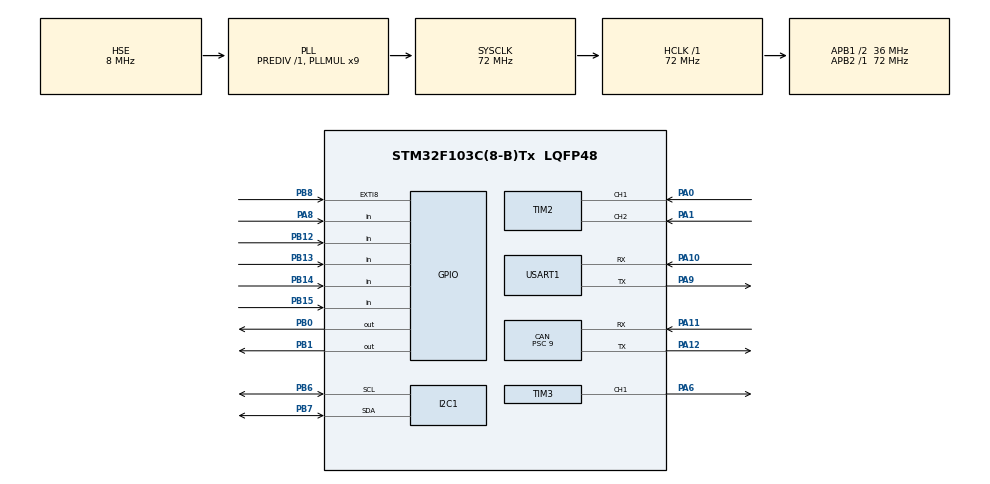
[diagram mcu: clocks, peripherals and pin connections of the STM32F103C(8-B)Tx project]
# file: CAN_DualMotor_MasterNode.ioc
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CAN.ABOM=ENABLE
CAN.BS1=CAN_BS1_6TQ
CAN.CalculateBaudRate=500000
CAN.CalculateTimeBit=2000
CAN.CalculateTimeQuantum=250.0
CAN.NART=ENABLE
CAN.Prescaler=9
Mcu.Family=STM32F1
Mcu.Name=STM32F103C(8-B)Tx
Mcu.Package=LQFP48
NVIC.EXTI9_5_IRQn=true\:0\:0\:false\:false\:true\:true\:true\:true
NVIC.PriorityGroup=NVIC_PRIORITYGROUP_4
NVIC.TIM4_IRQn=true\:0\:0\:false\:false\:true\:true\:true\:true
NVIC.USART1_IRQn=true\:0\:0\:false\:false\:true\:true\:true\:true
NVIC.USB_LP_CAN1_RX0_IRQn=true\:1\:0\:true\:false\:true\:true\:true\:true
PA0-WKUP.Signal=S_TIM2_CH1_ETR
PA1.Signal=S_TIM2_CH2
PA10.Mode=Asynchronous
PA10.Signal=USART1_RX
PA11.Mode=CAN_Activate
PA11.Signal=CAN_RX
PA12.Mode=CAN_Activate
PA12.Signal=CAN_TX
PA13.Mode=Serial_Wire
PA13.Signal=SYS_JTMS-SWDIO
PA14.Mode=Serial_Wire
PA14.Signal=SYS_JTCK-SWCLK
PA6.Signal=S_TIM3_CH1
PA8.GPIO_PuPd=GPIO_PULLUP
PA8.Signal=GPIO_Input
PA9.Mode=Asynchronous
PA9.Signal=USART1_TX
PB0.Signal=GPIO_Output
PB1.Signal=GPIO_Output
PB12.GPIO_PuPd=GPIO_PULLUP
PB12.Signal=GPIO_Input
PB13.GPIO_PuPd=GPIO_PULLUP
PB13.Signal=GPIO_Input
PB14.GPIO_PuPd=GPIO_PULLUP
PB14.Signal=GPIO_Input
PB15.GPIO_PuPd=GPIO_PULLUP
PB15.Signal=GPIO_Input
PB6.Mode=I2C
PB6.Signal=I2C1_SCL
PB7.Mode=I2C
PB7.Signal=I2C1_SDA
PB8.GPIO_ModeDefaultEXTI=GPIO_MODE_IT_FALLING
PB8.GPIO_PuPd=GPIO_PULLUP
PB8.Signal=GPXTI8
PD0-OSC_IN.Mode=HSE-External-Oscillator
PD0-OSC_IN.Signal=RCC_OSC_IN
PD1-OSC_OUT.Mode=HSE-External-Oscillator
PD1-OSC_OUT.Signal=RCC_OSC_OUT
ProjectManager.HeapSize=0x200
ProjectManager.StackSize=0x400
ProjectManager.TargetToolchain=MDK-ARM V5.32
RCC.AHBFreq_Value=72000000
RCC.APB1CLKDivider=RCC_HCLK_DIV2
RCC.APB1Freq_Value=36000000
RCC.APB1TimFreq_Value=72000000
RCC.APB2Freq_Value=72000000
RCC.APB2TimFreq_Value=72000000
RCC.HCLKFreq_Value=72000000
RCC.PLLMUL=RCC_PLL_MUL9
RCC.PLLSourceVirtual=RCC_PLLSOURCE_HSE
RCC.SYSCLKFreq_VALUE=72000000
RCC.SYSCLKSource=RCC_SYSCLKSOURCE_PLLCLK
RCC.USBFreq_Value=72000000
SH.S_TIM2_CH1_ETR.0=TIM2_CH1,Encoder_Interface
SH.S_TIM2_CH2.0=TIM2_CH2,Encoder_Interface
SH.S_TIM3_CH1.0=TIM3_CH1,PWM Generation1 CH1
TIM2.EncoderMode=TIM_ENCODERMODE_TI12
TIM2.IC1Filter=6
TIM2.IC2Filter=6
TIM3.Channel-PWM\ Generation1\ CH1=TIM_CHANNEL_1
TIM3.Period=3599
TIM4.Period=99
TIM4.Prescaler=7199
USART1.VirtualMode=VM_ASYNC
VP_TIM4_VS_ClockSourceINT.Mode=Internal
board=custom

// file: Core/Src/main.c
/* USER CODE BEGIN Header */
/**
  ******************************************************************************
  * @file           : main.c
  * @brief          : Main program body
  ******************************************************************************
  * @attention
  *
  * Copyright (c) 2026 STMicroelectronics.
  * All rights reserved.
  *
  * This software is licensed under terms that can be found in the LICENSE file
  * in the root directory of this software component.
  * If no LICENSE file comes with this software, it is provided AS-IS.
  *
  ******************************************************************************
  */
/* USER CODE END Header */
#include "main.h"
#include "can.h"
#include "i2c.h"
#include "tim.h"
#include "usart.h"
#include "gpio.h"

/* USER CODE BEGIN Includes */
#include "motor_control.h"
#include "Motor.h"
#include "Encoder.h"
#include "OLED.h"
#include "speed_pi.h"
#include "motor_control.h"
#include "Bsp_Can.h"
#include "can_protocol.h"
#include "App.h"
#include "state_machine.h"
/* USER CODE END Includes */

/* USER CODE BEGIN PV */
/* USER CODE BEGIN PV */

volatile uint8_t flag_10ms = 0;

int16_t speed_now = 0;
int16_t pwm_now = 0;
uint8_t oled_count = 0;
int16_t encoder_delta=0;
int16_t encoder_total=0;
int32_t pos_now = 0;
float target_speed_now = 0.0f;
//  系统运行的10ms计数
volatile uint32_t tick_10ms = 0;

//  本次任务开始的tick
uint32_t run_start_tick = 0;

//  本次任务耗时tick
uint32_t run_time_tick = 0;

//  防止完成后反复记录时间
uint8_t time_recorded = 0;
uint8_t finish_screen_updated = 0;

//can 测试
uint32_t status_count = 0;

int32_t test_total_count = 0;
int16_t test_delta_count = 0;
uint8_t test_state = 0;
uint32_t last_send_tick = 0;

//双机联调测试
static Can_MotorCommand_t test_cmd;
static Can_MotorCommand_t stop_cmd;

static Can_MotorStatus_t slave1_status;
static Can_MotorStatus_t slave2_status;

static uint32_t last_cmd_tick = 0;
static uint32_t last_oled_tick = 0;

//异步电机测试
static App_Config_t test_config;
static App_Runtime_t app_runtime;

static uint8_t sync_started = 0;

/* USER CODE END PV */

void SystemClock_Config(void);

int main(void)
{

  /* MCU Configuration--------------------------------------------------------*/

  /* Reset of all peripherals, Initializes the Flash interface and the Systick. */
  HAL_Init();

  /* Configure the system clock */
  SystemClock_Config();

  /* Initialize all configured peripherals */
  MX_GPIO_Init();
  MX_CAN_Init();
  MX_I2C1_Init();
  MX_TIM2_Init();
  MX_TIM3_Init();
  MX_TIM4_Init();
  MX_USART1_UART_Init();
  /* USER CODE BEGIN 2 */
	OLED_Init();
	Can_Init();
	App_Init();
	StateMachine_Init();
//OLED_ShowString(1, 1, "TGT:");
//OLED_ShowString(2, 1, "POS:");
//OLED_ShowString(3, 1, "SPD:");
//OLED_ShowString(4, 1, "TIME:");

//Motor_Init();
//Encoder_Init();

//MotorControl_Init(
//    0.02f,     // position Kp
//    80.0f,     // speed Kp
//    130.0f     // speed Ki
//);

//Encoder_Reset();
//HAL_TIM_Base_Start_IT(&htim4);

//// [新增]
//run_start_tick = tick_10ms;
//time_recorded = 0;
//MotorControl_SetTarget(28875);
//SpeedPI_Init(80.0f, 130.0f); //测试PI的
//Motor_Forward();
//Motor_SetPWM(1000);//直接定PWM

//上面的电机，下面是CAN测试

//CAN测试

//test_config.mode = APP_MODE_ASYNC;

//test_config.slave1.target_count = 3000;
//test_config.slave1.target_speed = 10;
//test_config.slave1.direction = 1;

//test_config.slave2.target_count = 3000;
//test_config.slave2.target_speed = 10;
//test_config.slave2.direction = 1;

//test_config.async_delay_ms = 2000;

//App_SetConfig(&test_config);

//OLED_ShowString(1, 1, "ASYNC TEST");
//OLED_ShowString(2, 1, "S1:WAIT");
//OLED_ShowString(3, 1, "S2:WAIT");
//OLED_ShowString(4, 1, "WAIT ONLINE");

//总机测试

  /* USER CODE END 2 */

  /* Infinite loop */
  while (1)
  {

    /* USER CODE BEGIN 3 */
		App_Task();
		StateMachine_Task();
		//下面的为电机测试
//   if (flag_10ms)
//    {
//        flag_10ms = 0;

//
//				target_speed_now =MotorControl_GetTargetSpeed();
//        pos_now = MotorControl_GetPosition();
//        speed_now = MotorControl_GetSpeed();
//        pwm_now = MotorControl_GetPWM();

//
////				Encoder_Update();

////        pos_now = Encoder_GetTotalCount();
////        speed_now = Encoder_GetDeltaCount();
//
//        oled_count++;

//			if (MotorControl_IsReached() &&!time_recorded)
//							{
//									run_time_tick =
//											tick_10ms - run_start_tick;

//									time_recorded = 1;
//							}
//				// [新增]
//				uint32_t show_time_tick;

//				if (time_recorded)
//				{
//						show_time_tick = run_time_tick;
//				}
//				else
//				{
//						show_time_tick =
//								tick_10ms - run_start_tick;
//				}
//
//
//        if (oled_count >= 20)
//				{
//				oled_count = 0;

//				/*
//				 * 运行中：
//				 * 正常5Hz刷新
//				 */
//				if (!MotorControl_IsReached())
//				{
//						OLED_ShowSignedNum(
//								1, 6,
//								(int32_t)target_speed_now,
//								3
//						);

//						OLED_ShowSignedNum(
//								2, 6,
//								pos_now,
//								6
//						);

//						OLED_ShowSignedNum(
//								3, 6,
//								speed_now,
//								3
//						);

//						show_time_tick =
//								tick_10ms - run_start_tick;

//						OLED_ShowNum(
//								4, 6,
//								show_time_tick / 100,
//								2
//						);

//						OLED_ShowChar(4, 8, '.');

//						OLED_ShowNum(
//								4, 9,
//								show_time_tick % 100,
//								2
//						);
//				}

//				/*
//				 * [新增]
//				 * 完成以后只刷新一次最终结果
//				 */
//				else if (!finish_screen_updated)
//				{
//						finish_screen_updated = 1;

//						OLED_ShowSignedNum(
//								1, 6,
//								0,
//								3
//						);

//						OLED_ShowSignedNum(
//								2, 6,
//								pos_now,
//								6
//						);

//						OLED_ShowSignedNum(
//								3, 6,
//								0,
//								3
//						);

//						OLED_ShowNum(
//								4, 6,
//								run_time_tick / 100,
//								2
//						);

//						OLED_ShowChar(4, 8, '.');

//						OLED_ShowNum(
//								4, 9,
//								run_time_tick % 100,
//								2
//						);
//				}
//}
//

//				/*
//				 * run_time_tick单位就是10ms。
//				 *
//				 * 1050 tick
//				 * = 10秒 + 50百分之一秒
//				 */
//				OLED_ShowNum(
//						4,
//						6,
//						show_time_tick / 100,
//						2
//				);

//				OLED_ShowChar(
//						4,
//						8,
//						'.'
//				);

//				OLED_ShowNum(
//						4,
//						9,
//						show_time_tick % 100,
//						2
//				);
//
//
    }
  /* USER CODE END 3 */
}

void SystemClock_Config(void)
{
  RCC_OscInitTypeDef RCC_OscInitStruct = {0};
  RCC_ClkInitTypeDef RCC_ClkInitStruct = {0};

  /** Initializes the RCC Oscillators according to the specified parameters
  * in the RCC_OscInitTypeDef structure.
  */
  RCC_OscInitStruct.OscillatorType = RCC_OSCILLATORTYPE_HSE;
  RCC_OscInitStruct.HSEState = RCC_HSE_ON;
  RCC_OscInitStruct.HSEPredivValue = RCC_HSE_PREDIV_DIV1;
  RCC_OscInitStruct.HSIState = RCC_HSI_ON;
  RCC_OscInitStruct.PLL.PLLState = RCC_PLL_ON;
  RCC_OscInitStruct.PLL.PLLSource = RCC_PLLSOURCE_HSE;
  RCC_OscInitStruct.PLL.PLLMUL = RCC_PLL_MUL9;
  if (HAL_RCC_OscConfig(&RCC_OscInitStruct) != HAL_OK)
  {
    Error_Handler();
  }

  /** Initializes the CPU, AHB and APB buses clocks
  */
  RCC_ClkInitStruct.ClockType = RCC_CLOCKTYPE_HCLK|RCC_CLOCKTYPE_SYSCLK
                              |RCC_CLOCKTYPE_PCLK1|RCC_CLOCKTYPE_PCLK2;
  RCC_ClkInitStruct.SYSCLKSource = RCC_SYSCLKSOURCE_PLLCLK;
  RCC_ClkInitStruct.AHBCLKDivider = RCC_SYSCLK_DIV1;
  RCC_ClkInitStruct.APB1CLKDivider = RCC_HCLK_DIV2;
  RCC_ClkInitStruct.APB2CLKDivider = RCC_HCLK_DIV1;

  if (HAL_RCC_ClockConfig(&RCC_ClkInitStruct, FLASH_LATENCY_2) != HAL_OK)
  {
    Error_Handler();
  }
}

/* USER CODE BEGIN 4 */
void HAL_TIM_PeriodElapsedCallback(TIM_HandleTypeDef *htim)
{
    if (htim->Instance == TIM4)
    {
				tick_10ms++;
				MotorControl_Update();
        flag_10ms = 1;
    }
}
/* USER CODE END 4 */

void Error_Handler(void)
{
  __disable_irq();
  while (1)
  {
  }
}
